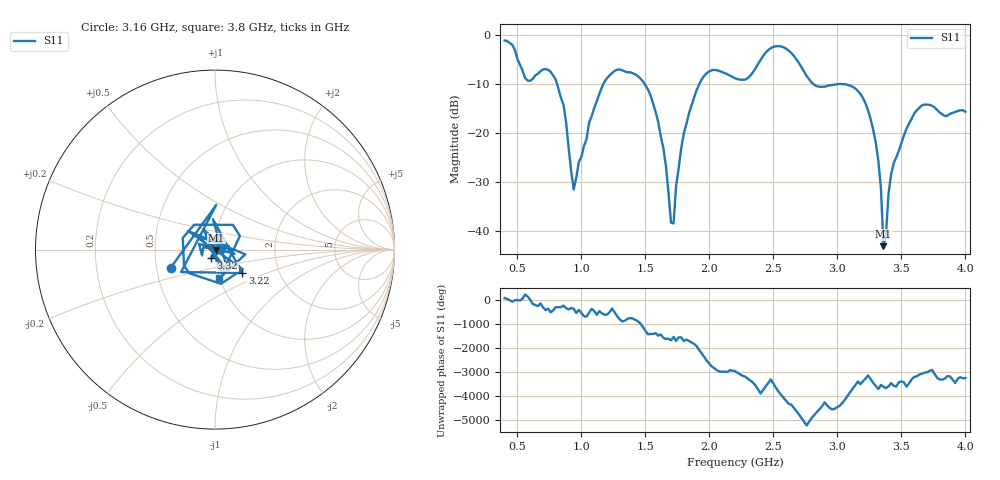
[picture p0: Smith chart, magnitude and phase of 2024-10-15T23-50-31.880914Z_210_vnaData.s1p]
! Created with skrf (http://scikit-rf.org).
# Hz S RI R 50.0
!freq ReS11 ImS11
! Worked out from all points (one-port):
!   181 points, 400 MHz to 4 GHz, reference 50 ohm
!   lowest |S11| = -43.0 dB at 3.36 GHz (marker M1), VSWR 1.01, Z = 50.7 - j0.213 ohm
!   |S11| at or under -10 dB: 809.4 MHz to 1.173 GHz (363.6 MHz wide, 36.7 % of centre); 1.493 GHz to 1.922 GHz (428.9 MHz wide, 25.1 % of centre); 2.811 GHz to end of sweep
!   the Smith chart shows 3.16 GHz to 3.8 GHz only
!   S11 on the Smith chart (normalised r, x): 3.16 GHz: 0.59, -0.13; 3.22 GHz: 1.30, -0.35; 3.32 GHz: 0.95, -0.09; 3.8 GHz: 1.00, -0.33
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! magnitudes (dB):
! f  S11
! 400 MHz  -1.2
! 580 MHz  -9.3
! 760 MHz  -7.6
! 860 MHz  -14.2
! 940 MHz  -31.5
! 1.14 GHz  -12.0
! 1.3 GHz  -7.1
! 1.54 GHz  -12.3
! 1.64 GHz  -23.0
! 1.7 GHz  -38.2
! 1.72 GHz  -38.4
! 1.76 GHz  -27.2
! 1.84 GHz  -16.0
! 1.94 GHz  -9.1
! 2.2 GHz  -8.9
! 2.5 GHz  -2.5
! 2.66 GHz  -4.3
! 2.84 GHz  -10.5
! 3.1 GHz  -10.4
! 3.16 GHz  -11.5
! 3.22 GHz  -14.0
! 3.32 GHz  -25.7
! 3.34 GHz  -31.2
! 3.36 GHz  -43.0
! 3.42 GHz  -28.4
! 3.56 GHz  -18.1
! 3.8 GHz  -15.8
! 4 GHz  -15.7
